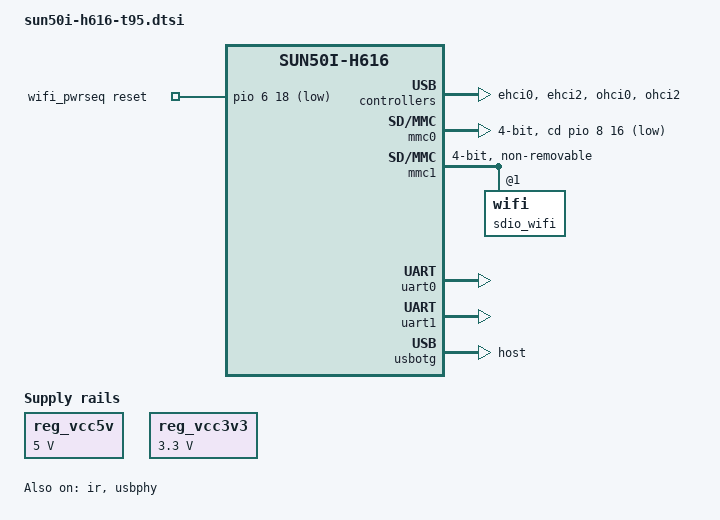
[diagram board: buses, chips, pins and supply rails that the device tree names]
// SPDX-License-Identifier: (GPL-2.0+ OR MIT)
/*
 * Copyright (C) 2024 Kamil Kasperski <ressetkk@gmail.com>
 *
 * Common DT nodes for H616-based T95 TV boxes
 * There are two versions reported with different PMIC variants.
 */

#include "sun50i-h616.dtsi"

#include <dt-bindings/gpio/gpio.h>
#include <dt-bindings/interrupt-controller/arm-gic.h>

/ {
	aliases {
		ethernet1 = &sdio_wifi;
		serial0 = &uart0;
	};

	chosen {
		stdout-path = "serial0:115200n8";
	};

	reg_vcc5v: vcc5v {
		/* board wide 5V supply directly from the DC input */
		compatible = "regulator-fixed";
		regulator-name = "vcc-5v";
		regulator-min-microvolt = <5000000>;
		regulator-max-microvolt = <5000000>;
		regulator-always-on;
	};

	reg_vcc3v3: vcc3v3 {
		/* discrete 3.3V regulator */
		compatible = "regulator-fixed";
		regulator-name = "vcc-3v3";
		regulator-min-microvolt = <3300000>;
		regulator-max-microvolt = <3300000>;
		regulator-always-on;
	};

	wifi_pwrseq: wifi_pwrseq {
		compatible = "mmc-pwrseq-simple";
		clocks = <&rtc CLK_OSC32K_FANOUT>;
		clock-names = "ext_clock";
		pinctrl-0 = <&x32clk_fanout_pin>;
		pinctrl-names = "default";
		reset-gpios = <&pio 6 18 GPIO_ACTIVE_LOW>; /* PG18 */
	};
};

&ehci0 {
	status = "okay";
};

&ehci2 {
	status = "okay";
};

&ir {
	status = "okay";
};

&mmc0 {
	cd-gpios = <&pio 8 16 GPIO_ACTIVE_LOW>;	/* PI16 */
	bus-width = <4>;
	status = "okay";
};

&mmc1 {
	mmc-pwrseq = <&wifi_pwrseq>;
	bus-width = <4>;
	non-removable;
	status = "okay";

	sdio_wifi: wifi@1 {
		reg = <1>;
	};
};

&ohci0 {
	status = "okay";
};

&ohci2 {
	status = "okay";
};

&uart0 {
	pinctrl-names = "default";
	pinctrl-0 = <&uart0_ph_pins>;
	status = "okay";
};

&uart1 {
	pinctrl-names = "default";
	pinctrl-0 = <&uart1_pins>, <&uart1_rts_cts_pins>;
	uart-has-rtscts;
	status = "okay";
};

&usbotg {
	dr_mode = "host";	/* USB A type receptable */
	status = "okay";
};

&usbphy {
	status = "okay";
};
